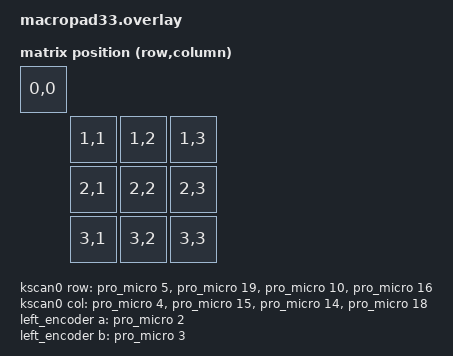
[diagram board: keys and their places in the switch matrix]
/*
 * Copyright (c) 2020 The ZMK Contributors
 *
 * SPDX-License-Identifier: MIT
 */

#include <dt-bindings/zmk/matrix_transform.h>
#include "macropad33_layout.dtsi"

&macropad33_layout0 {
    transform = <&default_transform>;
};



/ {

    // chosen {
    //   zmk,battery = &vbatt;
    // };

    // vbatt: vbatt {
    //     compatible = "zmk,battery-nrf-vddh";
    // };    

    chosen {
        zmk,kscan = &kscan0;
        zmk,physical-layout = &macropad33_layout0;
    };

    default_transform: matrix_transform0 {
        compatible = "zmk,matrix-transform";
        columns = <4>;
        rows = <4>;

        map = <
            RC(0,0)
                    RC(1,1) RC(1,2) RC(1,3)
                    RC(2,1) RC(2,2) RC(2,3)
                    RC(3,1) RC(3,2) RC(3,3)
                    
                        
        >;
    };

    kscan0: kscan_0 {
        compatible = "zmk,kscan-gpio-matrix";
        wakeup-source;

        diode-direction = "col2row";

        col-gpios
            = <&pro_micro 4 GPIO_ACTIVE_HIGH>
            , <&pro_micro 15 GPIO_ACTIVE_HIGH>
            , <&pro_micro 14 GPIO_ACTIVE_HIGH>
            , <&pro_micro 18 GPIO_ACTIVE_HIGH>
            ;

        row-gpios
            = <&pro_micro 5 (GPIO_ACTIVE_HIGH | GPIO_PULL_DOWN)>
            , <&pro_micro 19 (GPIO_ACTIVE_HIGH | GPIO_PULL_DOWN)>
            , <&pro_micro 10 (GPIO_ACTIVE_HIGH | GPIO_PULL_DOWN)>
            , <&pro_micro 16 (GPIO_ACTIVE_HIGH | GPIO_PULL_DOWN)>
            ;
    };

    left_encoder: encoder_left {
        compatible = "alps,ec11";
        b-gpios = <&pro_micro 3 (GPIO_ACTIVE_HIGH | GPIO_PULL_UP)>;
        a-gpios = <&pro_micro 2 (GPIO_ACTIVE_HIGH | GPIO_PULL_UP)>;
        steps = <80>;
    };

    sensors: sensors {
        compatible = "zmk,keymap-sensors";
        sensors = <&left_encoder>;
        triggers-per-rotation = <20>;
    };

    //  vbatt: vbatt {
    //      status = "okay";
    //      compatible = "zmk,battery-voltage-divider";
    //      label = "Voltage Divider";
    //      io-channels = <&adc 5>;
    //      output-ohms = <1000000>;
    //      full-ohms = <3000000>;
    //  };
    
};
